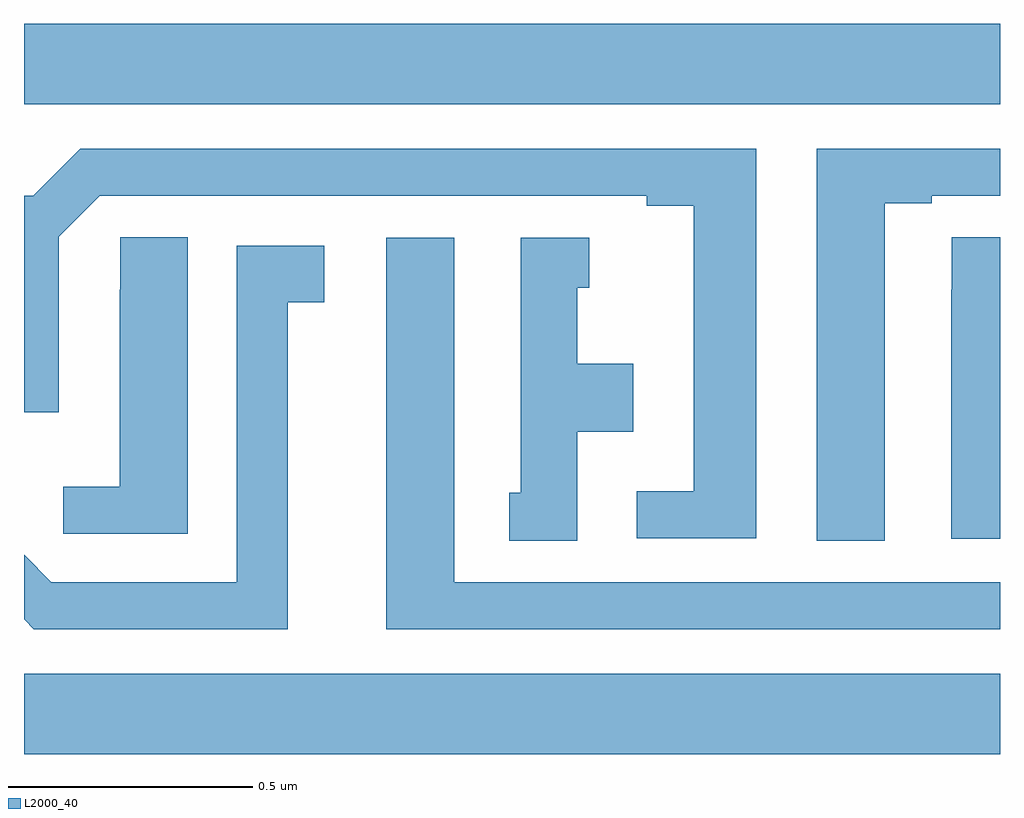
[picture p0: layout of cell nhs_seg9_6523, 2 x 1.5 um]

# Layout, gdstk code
import gdstk
lib = gdstk.Library(unit=1e-6, precision=1e-09)
def R(c, l, rs):  # rectangles x0, y0, x1, y1
    for r in rs: c.add(gdstk.rectangle(r[:2], r[2:], *l))
def P(c, l, *ps):  # polygons
    for p in ps: c.add(gdstk.Polygon(p, *l))
L2000_40 = (2000, 40)

nhs_seg9_6523 = lib.new_cell('nhs_seg9_6523')
R(nhs_seg9_6523, L2000_40, [(193,1185.764,195,1185.928), (193,1187.096,195,1187.26)])
P(nhs_seg9_6523, L2000_40, [(194.5,1187.004),(193.115,1187.004),(193.019,1186.908),(193,1186.908),(193,1186.464),(193.071,1186.464),(193.071,1186.824),(193.155,1186.908),(194.276,1186.908),(194.276,1186.888),(194.372,1186.888),(194.372,1186.302),(194.256,1186.302),(194.256,1186.206),(194.5,1186.206)],
  [(194.764,1186.893),(194.86,1186.893),(194.86,1186.908),(195,1186.908),(195,1187.004),(194.624,1187.004),(194.624,1186.201),(194.764,1186.201)],
  [(195,1186.823),(194.901,1186.823),(194.901,1186.715),(194.9,1186.715),(194.9,1186.205),(195,1186.205)],
  [(193.336,1186.823),(193.197,1186.823),(193.197,1186.715),(193.196,1186.715),(193.196,1186.312),(193.08,1186.312),(193.08,1186.215),(193.336,1186.215)],
  [(194.134,1186.424),(194.248,1186.424),(194.248,1186.564),(194.134,1186.564),(194.134,1186.719),(194.158,1186.719),(194.158,1186.822),(194.018,1186.822),(194.018,1186.299),(193.994,1186.299),(193.994,1186.201),(194.134,1186.201)],
  [(195,1186.116),(193.882,1186.116),(193.882,1186.822),(193.742,1186.822),(193.742,1186.02),(195,1186.02)],
  [(193.54,1186.69),(193.615,1186.69),(193.615,1186.806),(193.436,1186.806),(193.436,1186.116),(193.056,1186.116),(193,1186.172),(193,1186.04),(193.02,1186.02),(193.54,1186.02)])

lib.write_gds('nhs_seg9_6523.gds')
